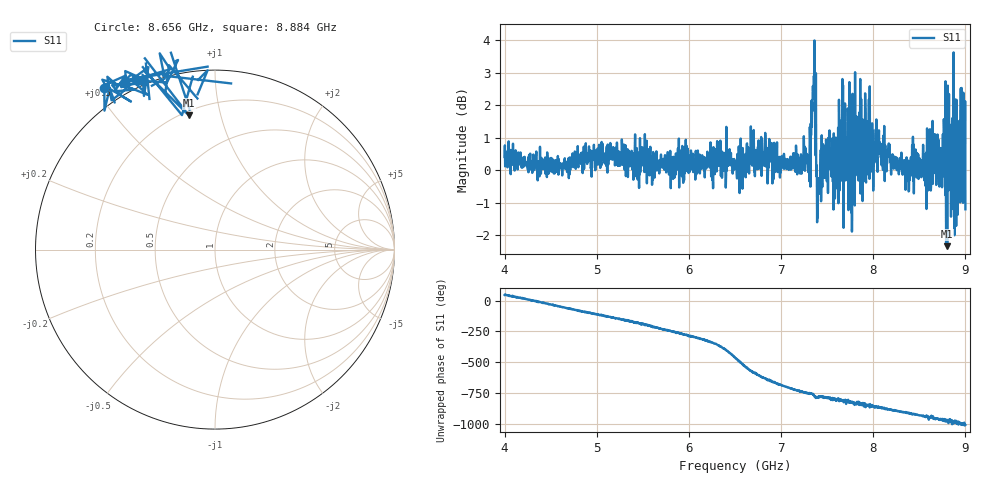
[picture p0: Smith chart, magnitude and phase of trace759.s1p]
! Created with skrf 1.8.0 (http://scikit-rf.org).
# Hz S RI R 50.0
!freq ReS11 ImS11
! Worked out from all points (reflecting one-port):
!   1601 points, 4 GHz to 9 GHz, reference 50 ohm
!   lowest |S11| = -2.3 dB at 8.803 GHz (marker M1), VSWR 7.45, Z = 11.1 + j39.9 ohm
!   phase of S11 starts at 47 deg and turns -1056 deg over the sweep
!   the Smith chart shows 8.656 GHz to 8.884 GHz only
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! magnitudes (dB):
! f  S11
! 4 GHz  0.4
! 4.625 GHz  -0.2
! 5.25 GHz  0.2
! 5.875 GHz  0.2
! 6.331 GHz  0.3
! 6.5 GHz  0.0
! 6.688 GHz  0.1
! 7.125 GHz  0.3
! 7.294 GHz  -0.1
! 7.353 GHz  2.3
! 7.409 GHz  -0.3
! 7.512 GHz  1.0
! 7.6 GHz  -0.6
! 7.634 GHz  -0.6
! 7.65 GHz  1.5
! 7.75 GHz  1.3
! 7.784 GHz  0.0
! 7.8 GHz  -1.1
! 7.85 GHz  0.4
! 7.909 GHz  0.0
! 7.938 GHz  1.0
! 7.997 GHz  0.5
! 8.05 GHz  0.9
! 8.375 GHz  0.2
! 8.803 GHz  -2.3
! 8.919 GHz  -0.1
! 8.972 GHz  1.0
! 9 GHz  -1.2
